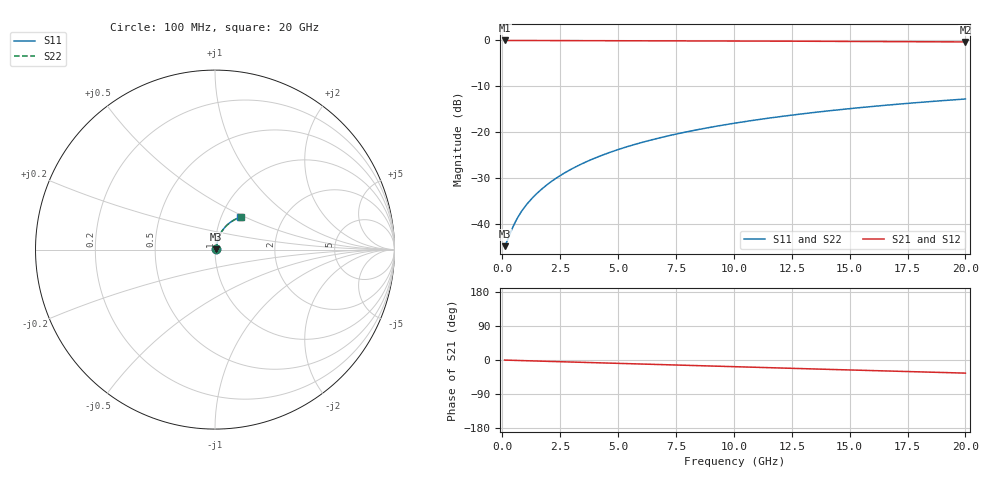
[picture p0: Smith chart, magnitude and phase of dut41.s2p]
! Touchstone file exported from HFSS 2026.1.0
!  File:  C:/ffzhzh/LocalFiles/Ansys_Project_Files/temp_train_TMRDL_41_1782880666_46784.aedt
!  Generated:  12:38:56 PM Jul  1, 2026
!  Design:  TMRDL
!  Project:  temp_train_TMRDL_41_1782880666_46784
! Variables:
!  h_bsmrdl = 2um
!  h_ox = 20um
!  h_rdl = 5um
!  h_sub = 80um
!  h_tmrdl = 2.2um
!  h_tsv = 80um
!  h_via = 3um
!  l_bsmrdl = 300um
!  l_sub = 962.2um
!  l_tmrdl = 562.2um
!  m_sub = 200um
!  pitch = 26.63um
!  r_tsv = 6um
!  s_tmrdl = 10um
!  w_bsmrdl = 18um
!  w_sub = 500um
!  w_tmrdl = 17.04um
!  x_tsv_center1 = 570.72um
!  x_tsv_center2 = 888.72um
!  x_tsv_center3 = 1467.96um
!  x_tsv_center4 = 1785.96um
!  x_tsv_center5 = 2365.2um
!  x_tsv_center6 = 2683.2um
# GHz S MA R 50.000000
! Terminal data exported
! Port[1] = TM_RDL1_1_T1
! Port[2] = TM_RDL1_1_T2
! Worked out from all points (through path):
!   200 points, 100 MHz to 20 GHz, reference 50 ohm
!   highest |S21| = -0.05 dB at 100 MHz (marker M1); lowest = -0.4 dB at 20 GHz (marker M2)
!   group delay of S21, straight-line fit = 4.81 ps
!   lowest |S11| = -44.8 dB at 100 MHz (marker M3), VSWR 1.01, Z = 50.6 + j0.161 ohm
!   |S11| at or under -10 dB: start of sweep to end of sweep
!   |S22| runs from -44.8 to -12.8 dB; largest |S21 - S12| = 2.8e-15
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0.1  0.00576 16.0  0.9945 -0.2  0.9945 -0.2  0.00576 16.0
! Gamma 0 0 0 0
! Port Impedance 50 0 50 0
0.2  0.006486 29.0  0.9943 -0.4  0.9943 -0.4  0.006486 29.0
0.4  0.008627 44.9  0.994 -0.8  0.994 -0.8  0.008627 44.9
0.5  0.009814 49.6  0.9937 -1.0  0.9937 -1.0  0.009814 49.6
0.7  0.0122 55.8  0.9933 -1.3  0.9933 -1.3  0.0122 55.8
1  0.01574 61.4  0.9928 -1.9  0.9928 -1.9  0.01574 61.4
1.3  0.01927 65.1  0.9925 -2.4  0.9925 -2.4  0.01927 65.1
1.5  0.02163 66.9  0.9923 -2.7  0.9923 -2.7  0.02163 66.9
1.8  0.02522 69.0  0.9921 -3.3  0.9921 -3.3  0.02522 69.0
2.3  0.03128 71.3  0.9917 -4.2  0.9917 -4.2  0.03128 71.3
2.9  0.03866 72.8  0.9912 -5.2  0.9912 -5.2  0.03866 72.8
3.5  0.04608 73.5  0.9908 -6.3  0.9908 -6.3  0.04608 73.5
4.2  0.05477 73.6  0.9901 -7.5  0.9901 -7.5  0.05477 73.6
5  0.06469 73.4  0.9893 -8.9  0.9893 -8.9  0.06469 73.4
5.9  0.0758 72.7  0.9882 -10.5  0.9882 -10.5  0.0758 72.7
6.8  0.08681 71.8  0.987 -12.1  0.987 -12.1  0.08681 71.8
8.3  0.1049 69.9  0.9846 -14.7  0.9846 -14.7  0.1049 69.9
10.1  0.1261 67.3  0.9814 -17.9  0.9814 -17.9  0.1261 67.3
11.7  0.1444 64.9  0.9782 -20.6  0.9782 -20.6  0.1444 64.9
13.4  0.1632 62.2  0.9745 -23.6  0.9745 -23.6  0.1632 62.2
16.7  0.1978 57.0  0.9668 -29.1  0.9668 -29.1  0.1978 57.0
20  0.2296 51.8  0.9585 -34.6  0.9585 -34.6  0.2296 51.8
